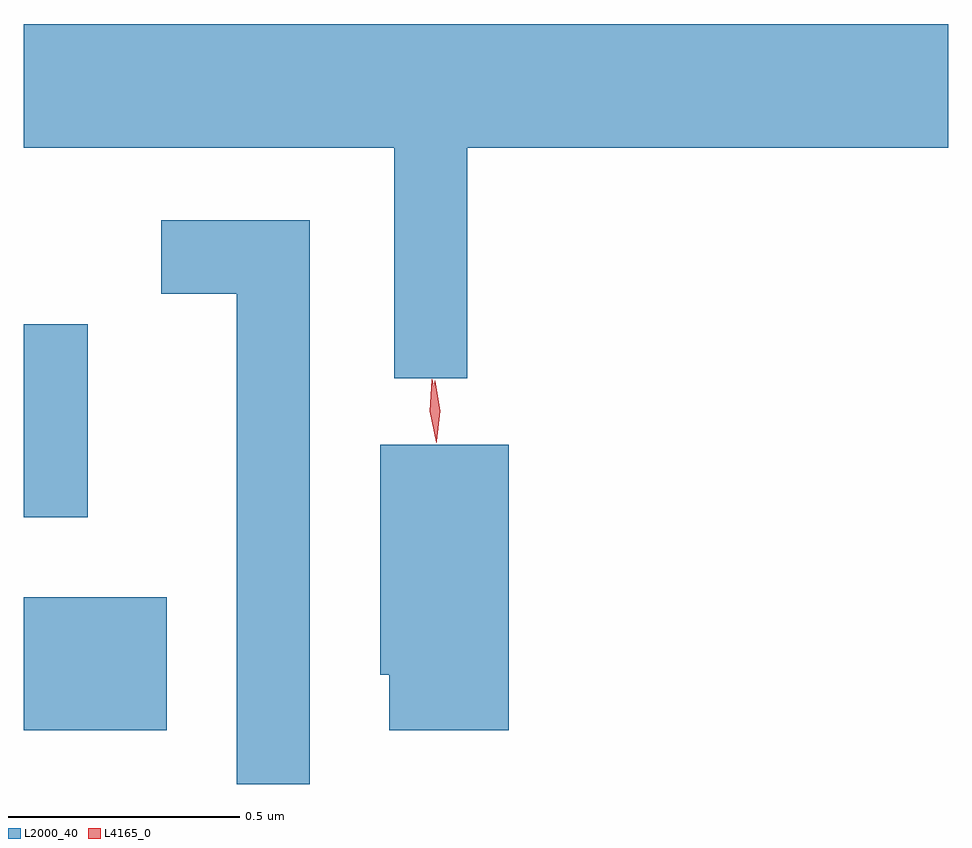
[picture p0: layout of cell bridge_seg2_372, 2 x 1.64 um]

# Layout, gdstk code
import gdstk
lib = gdstk.Library(unit=1e-6, precision=1e-09)
def R(c, l, rs):  # rectangles x0, y0, x1, y1
    for r in rs: c.add(gdstk.rectangle(r[:2], r[2:], *l))
def P(c, l, *ps):  # polygons
    for p in ps: c.add(gdstk.Polygon(p, *l))
L2000_40 = (2000, 40)
L4165_0 = (4165, 0)

bridge_seg2_372 = lib.new_cell('bridge_seg2_372')
R(bridge_seg2_372, L2000_40, [(403.175,1029.296,403.484,1029.584), (403.175,1029.757,403.314,1030.174)])
P(bridge_seg2_372, L2000_40, [(404.134,1030.556),(405.175,1030.556),(405.175,1030.824),(403.175,1030.824),(403.175,1030.556),(403.976,1030.556),(403.976,1030.058),(404.134,1030.058)],
  [(403.794,1030.399),(403.473,1030.399),(403.473,1030.241),(403.636,1030.241),(403.636,1029.18),(403.794,1029.18)],
  [(404.224,1029.914),(403.946,1029.914),(403.946,1029.416),(403.966,1029.416),(403.966,1029.296),(404.224,1029.296)])
P(bridge_seg2_372, L4165_0, [(404.067,1029.918),(404.067,1029.919),(404.053,1029.986),(404.058,1030.055),(404.059,1030.055),(404.059,1030.055),(404.073,1029.987),(404.068,1029.919)],
  [(404.067,1029.921),(404.056,1029.986),(404.064,1030.052),(404.064,1030.052),(404.065,1030.052),(404.076,1029.987),(404.068,1029.921),(404.068,1029.921)])

lib.write_gds('bridge_seg2_372.gds')
